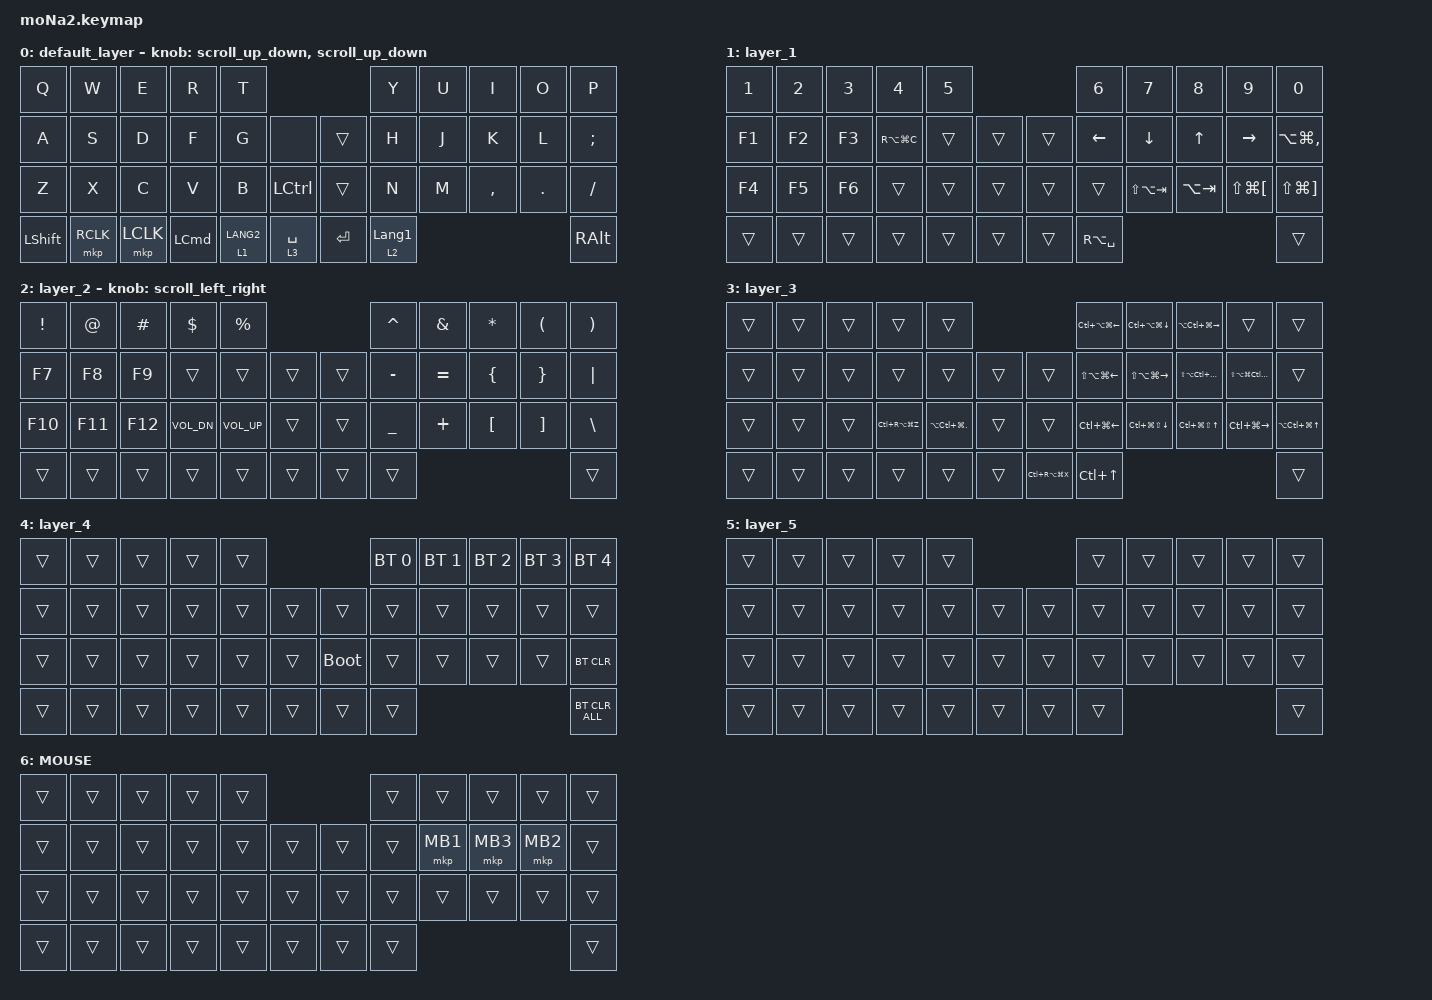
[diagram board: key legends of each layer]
#include <behaviors.dtsi>
#include <dt-bindings/zmk/bt.h>
#include <dt-bindings/zmk/keys.h>
#include <dt-bindings/zmk/pointing.h>

#define ZMK_POINTING_DEFAULT_SCRL_VAL 100
#define MOUSE 6

&mt {
    flavor = "balanced";
    quick-tap-ms = <0>;
};

/ {
    combos {
        compatible = "zmk,combos";

        singleQu {
            bindings = <&kp SINGLE_QUOTE>;
            key-positions = <20 21>;
            timeout-ms = <800>;
            layers = <0>;
        };

        backquat {
            bindings = <&kp GRAVE>;
            key-positions = <20 21>;
            layers = <2>;
            timeout-ms = <800>;
        };

        tidle {
            bindings = <&kp TILDE>;
            key-positions = <33 32>;
            layers = <2>;
            timeout-ms = <800>;
        };

        windowmax {
            bindings = <&kp LC(LG(UP))>;
            key-positions = <33 32>;
            timeout-ms = <800>;
            layers = <3>;
        };

        backdel {
            bindings = <&kp BACKSPACE>;
            key-positions = <9 8>;
            layers = <0 1 3>;
            timeout-ms = <800>;
        };

        del {
            bindings = <&kp DEL>;
            key-positions = <9 8>;
            timeout-ms = <800>;
            layers = <2>;
        };

        tab {
            bindings = <&kp TAB>;
            key-positions = <1 0>;
            timeout-ms = <800>;
            layers = <0 3 2>;
        };

        esc {
            bindings = <&kp ESCAPE>;
            key-positions = <1 0>;
            timeout-ms = <800>;
            layers = <1>;
        };

        a+l+left {
            bindings = <&kp LA(LG(LEFT))>;
            key-positions = <20 21>;
            timeout-ms = <500>;
            require-prior-idle-ms = <500>;
            layers = <1>;
        };
    };

    macros {
        to_layer_0: to_layer_0 {
            compatible = "zmk,behavior-macro-one-param";
            #binding-cells = <1>;
            bindings = <&to 0 &macro_param_1to1 &kp MACRO_PLACEHOLDER>;
            label = "TO_LAYER_0";
        };
    };

    behaviors {
        lt_to_layer_0: lt_to_layer_0 {
            compatible = "zmk,behavior-hold-tap";
            label = "LAYER_TAP_TO_0";
            bindings = <&mo>, <&to_layer_0>;

            #binding-cells = <2>;
            tapping-term-ms = <200>;
        };

        scroll_up_down: behavior_sensor_rotate_mouse_wheel_up_down {
            compatible = "zmk,behavior-sensor-rotate";
            #sensor-binding-cells = <0>;
            bindings = <&msc SCRL_UP>, <&msc SCRL_DOWN>;

            tap-ms = <20>;
        };

        scroll_left_right: scroll_left_right {
            compatible = "zmk,behavior-sensor-rotate";
            #sensor-binding-cells = <0>;
            bindings = <&msc SCRL_LEFT>, <&msc SCRL_RIGHT>;

            tap-ms = <20>;
            label = "SCROLL_LEFT_RIGHT";
        };
    };

    keymap {
        compatible = "zmk,keymap";

        default_layer {
            bindings = <
&kp Q           &kp W      &kp E      &kp R     &kp T                                  &kp Y             &kp U  &kp I      &kp O    &kp P
&kp A           &kp S      &kp D      &kp F     &kp G        &none          &trans     &kp H             &kp J  &kp K      &kp L    &kp SEMICOLON
&kp Z           &kp X      &kp C      &kp V     &kp B        &kp LCTRL      &trans     &kp N             &kp M  &kp COMMA  &kp DOT  &kp SLASH
&kp LEFT_SHIFT  &mkp RCLK  &mkp LCLK  &kp LCMD  &lt 1 LANG2  &lt 3 SPACE    &kp ENTER  &lt 2 LANGUAGE_1                             &kp RIGHT_ALT
            >;

            sensor-bindings = <&scroll_up_down>, <&scroll_up_down>;
        };

        layer_1 {
            bindings = <
&kp NUMBER_1  &kp NUMBER_2  &kp NUMBER_3  &kp NUMBER_4   &kp NUMBER_5                    &kp NUMBER_6    &kp NUMBER_7     &kp NUMBER_8  &kp NUMBER_9              &kp NUMBER_0
&kp F1        &kp F2        &kp F3        &kp RA(LG(C))  &trans        &trans    &trans  &kp LEFT_ARROW  &kp DOWN         &kp UP_ARROW  &kp RIGHT                 &kp LA(LG(COMMA))
&kp F4        &kp F5        &kp F6        &trans         &trans        &trans    &trans  &trans          &kp LS(LA(TAB))  &kp LA(TAB)   &kp LS(LG(LEFT_BRACKET))  &kp LS(LG(RIGHT_BRACKET))
&trans        &trans        &trans        &trans         &trans        &trans    &trans  &kp RA(SPACE)                                                            &trans
            >;
        };

        layer_2 {
            bindings = <
&kp EXCLAMATION  &kp AT_SIGN  &kp HASH  &kp DOLLAR    &kp PERCENT                     &kp CARET       &kp AMPERSAND  &kp ASTERISK      &kp LEFT_PARENTHESIS  &kp RIGHT_PARENTHESIS
&kp F7           &kp F8       &kp F9    &trans        &trans        &trans    &trans  &kp MINUS       &kp EQUAL      &kp LEFT_BRACE    &kp RIGHT_BRACE       &kp PIPE
&kp F10          &kp F11      &kp F12   &kp C_VOL_DN  &kp C_VOL_UP  &trans    &trans  &kp UNDERSCORE  &kp PLUS       &kp LEFT_BRACKET  &kp RIGHT_BRACKET     &kp BACKSLASH
&trans           &trans       &trans    &trans        &trans        &trans    &trans  &trans                                                                 &trans
            >;

            sensor-bindings = <&scroll_left_right>;
        };

        layer_3 {
            bindings = <
&trans  &trans  &trans  &trans             &trans                                               &kp LC(LA(LG(LEFT)))        &kp LC(LA(LG(DOWN)))   &kp LA(LC(LG(RIGHT)))     &trans                     &trans
&trans  &trans  &trans  &trans             &trans                  &trans    &trans             &kp LS(LA(LG(LEFT_ARROW)))  &kp LS(LA(LG(RIGHT)))  &kp LS(LA(LC(LG(LEFT))))  &kp LS(LA(LG(LC(RIGHT))))  &trans
&trans  &trans  &trans  &kp LC(RA(LG(Z)))  &kp LA(LC(LG(PERIOD)))  &trans    &trans             &kp LC(LG(LEFT))            &kp LC(LG(LS(DOWN)))   &kp LC(LG(LS(UP)))        &kp LC(LG(RIGHT))          &kp LA(LC(LG(UP)))
&trans  &trans  &trans  &trans             &trans                  &trans    &kp LC(RA(LG(X)))  &kp LC(UP_ARROW)                                                                                        &trans
            >;
        };

        layer_4 {
            bindings = <
&trans  &trans  &trans  &trans  &trans                         &bt BT_SEL 0  &bt BT_SEL 1  &bt BT_SEL 2  &bt BT_SEL 3  &bt BT_SEL 4
&trans  &trans  &trans  &trans  &trans  &trans    &trans       &trans        &trans        &trans        &trans        &trans
&trans  &trans  &trans  &trans  &trans  &trans    &bootloader  &trans        &trans        &trans        &trans        &bt BT_CLR
&trans  &trans  &trans  &trans  &trans  &trans    &trans       &trans                                                  &bt BT_CLR_ALL
            >;
        };

        layer_5 {
            bindings = <
&trans  &trans  &trans  &trans  &trans                    &trans  &trans  &trans  &trans  &trans
&trans  &trans  &trans  &trans  &trans  &trans    &trans  &trans  &trans  &trans  &trans  &trans
&trans  &trans  &trans  &trans  &trans  &trans    &trans  &trans  &trans  &trans  &trans  &trans
&trans  &trans  &trans  &trans  &trans  &trans    &trans  &trans                          &trans
            >;
        };

        MOUSE {
            bindings = <
&trans  &trans  &trans  &trans  &trans                    &trans  &trans    &trans    &trans    &trans
&trans  &trans  &trans  &trans  &trans  &trans    &trans  &trans  &mkp MB1  &mkp MB3  &mkp MB2  &trans
&trans  &trans  &trans  &trans  &trans  &trans    &trans  &trans  &trans    &trans    &trans    &trans
&trans  &trans  &trans  &trans  &trans  &trans    &trans  &trans                                &trans
            >;
        };
    };
};
